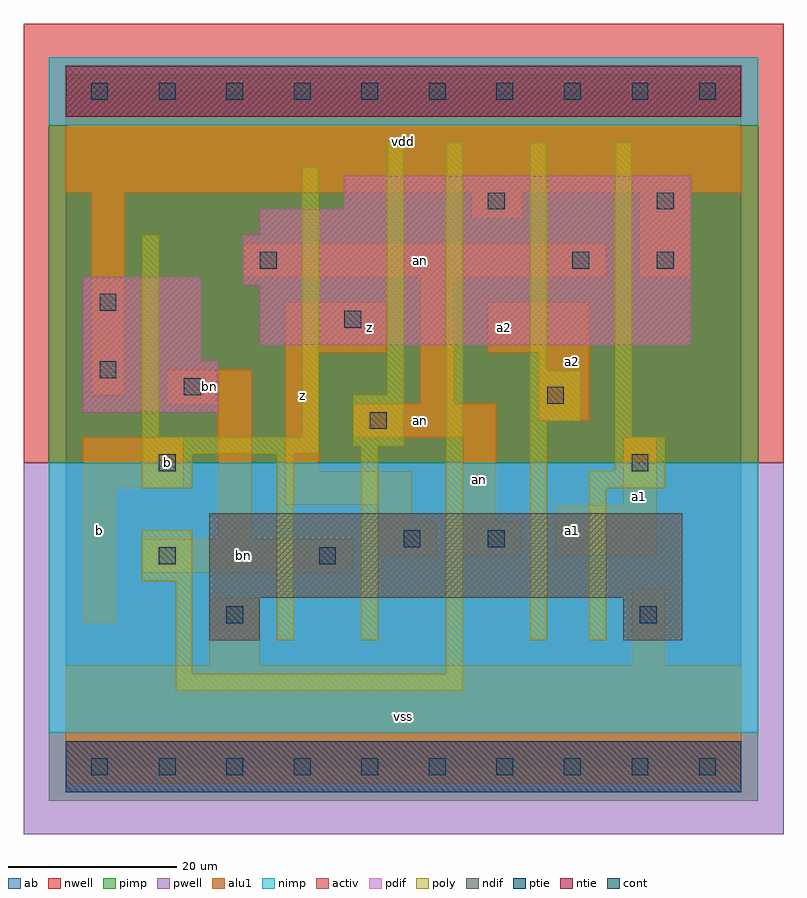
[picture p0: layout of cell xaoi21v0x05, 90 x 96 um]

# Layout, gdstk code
import gdstk
lib = gdstk.Library(unit=1e-6, precision=1e-09)
def R(c, l, rs):  # rectangles x0, y0, x1, y1
    for r in rs: c.add(gdstk.rectangle(r[:2], r[2:], *l))
def A(c, l, x, y, w, h, nx, ny, dx, dy):  # array of equal rectangles
    R(c, l, [(x+i*dx, y+j*dy, x+i*dx+w, y+j*dy+h) for i in range(nx) for j in range(ny)])
ndif = (3, 0)
pdif = (4, 0)
ntie = (5, 0)
ptie = (6, 0)
cont = (25, 0)
pwell = (41, 0)
nwell = (42, 0)
activ = (43, 0)
pimp = (44, 0)
nimp = (45, 0)
poly = (46, 0)
alu1 = (49, 0)
ab = (63, 0)

xaoi21v0x05 = lib.new_cell('xaoi21v0x05')
R(xaoi21v0x05, ndif, [(17,15,23,20), (66,15,73,20), (17,20,73,30)])
R(xaoi21v0x05, pdif, [(2,42,18,48), (2,48,16,58), (23,50,74,57), (21,57,74,63), (23,63,74,66), (33,66,74,70)])
R(xaoi21v0x05, ntie, [(0,77,80,83)])
R(xaoi21v0x05, ptie, [(0,-3,80,3)])
A(xaoi21v0x05, cont, 3, -1, 2, 2, 10, 2, 8, 80)
R(xaoi21v0x05, cont, [(19,17,21,19), (68,17,70,19), (11,24,13,26), (30,24,32,26), (40,26,42,28), (50,26,52,28), (11,35,13,37), (67,35,69,37), (36,40,38,42), (57,43,59,45), (14,44,16,46), (4,46,6,48), (33,52,35,54), (4,54,6,56), (23,59,25,61), (60,59,62,61), (70,59,72,61), (50,66,52,68), (70,66,72,68)])
R(xaoi21v0x05, pwell, [(-5,-8,85,36)])
R(xaoi21v0x05, nwell, [(-5,36,85,88)])
R(xaoi21v0x05, activ, [(0,-3,80,3), (17,15,23,20), (66,15,73,20), (17,20,73,30), (2,42,18,48), (2,48,16,58), (23,50,74,57), (21,57,74,63), (23,63,74,66), (33,66,74,70), (0,77,80,83)])
R(xaoi21v0x05, pimp, [(-2,-4,82,4), (-2,36,82,76)])
R(xaoi21v0x05, nimp, [(-2,4,82,36), (-2,76,82,84)])
R(xaoi21v0x05, poly, [(13,9,47,11), (13,11,15,22), (45,11,47,74), (25,15,27,37), (35,15,37,38), (55,15,57,41), (62,15,64,33), (9,22,15,28), (9,33,15,37), (62,33,71,35), (65,35,71,39), (9,37,30,39), (34,38,40,44), (9,39,11,63), (28,39,30,71), (65,39,67,74), (55,41,61,47), (38,44,40,74), (55,47,57,74)])
R(xaoi21v0x05, alu1, [(0,-2,80,12), (17,12,23,20), (67,12,71,21), (2,17,6,33), (9,23,34,27), (37,25,44,29), (47,25,54,29), (58,25,70,31), (18,27,22,43), (37,29,41,31), (47,29,51,39), (26,31,41,35), (66,31,70,39), (2,33,14,39), (26,35,30,49), (34,39,51,43), (56,41,62,49), (12,43,22,47), (42,43,46,58), (3,44,7,68), (26,49,38,55), (50,49,62,55), (21,58,64,62), (68,58,74,68), (48,65,54,68), (0,68,80,82)])
R(xaoi21v0x05, ab, [(0,0,80,80)])
xaoi21v0x05.add(gdstk.Label('bn', (21,25), layer=49, texttype=0))
xaoi21v0x05.add(gdstk.Label('bn', (17,45), layer=49, texttype=0))
xaoi21v0x05.add(gdstk.Label('an', (49,34), layer=49, texttype=0))
xaoi21v0x05.add(gdstk.Label('an', (42,41), layer=49, texttype=0))
xaoi21v0x05.add(gdstk.Label('an', (42,60), layer=49, texttype=0))
xaoi21v0x05.add(gdstk.Label('b', (12,36), layer=49, texttype=0))
xaoi21v0x05.add(gdstk.Label('b', (4,28), layer=49, texttype=0))
xaoi21v0x05.add(gdstk.Label('z', (28,44), layer=49, texttype=0))
xaoi21v0x05.add(gdstk.Label('z', (36,52), layer=49, texttype=0))
xaoi21v0x05.add(gdstk.Label('vss', (40,6), layer=49, texttype=0))
xaoi21v0x05.add(gdstk.Label('a2', (52,52), layer=49, texttype=0))
xaoi21v0x05.add(gdstk.Label('vdd', (40,74), layer=49, texttype=0))
xaoi21v0x05.add(gdstk.Label('a1', (60,28), layer=49, texttype=0))
xaoi21v0x05.add(gdstk.Label('a1', (68,32), layer=49, texttype=0))
xaoi21v0x05.add(gdstk.Label('a2', (60,48), layer=49, texttype=0))

lib.write_gds('xaoi21v0x05.gds')
